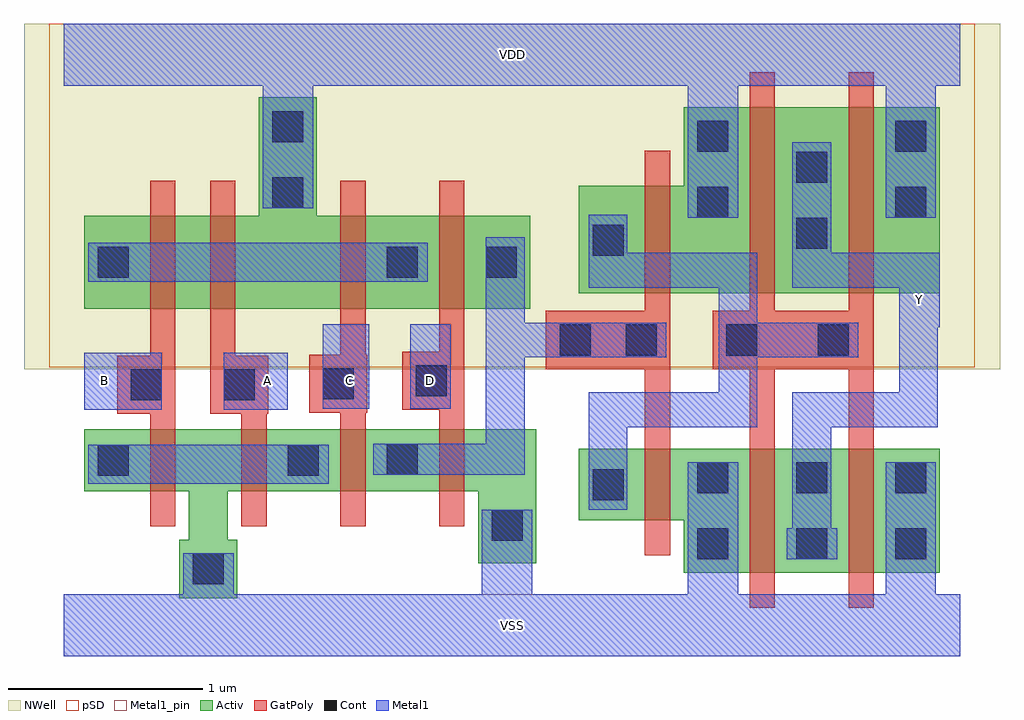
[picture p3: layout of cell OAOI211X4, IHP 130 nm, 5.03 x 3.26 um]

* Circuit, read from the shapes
.subckt OAOI211X4 A B C D VDD VSS Y
XM1 VSS B n1 VSUBS sg13_lv_nmos w=0.32u l=0.13u
XM2 n1 A VSS VSUBS sg13_lv_nmos w=0.32u l=0.13u
XM3 n2 C n1 VSUBS sg13_lv_nmos w=0.32u l=0.13u
XM4 VSS D n2 VSUBS sg13_lv_nmos w=0.32u l=0.13u
XM5 VSS n2 n3 VSUBS sg13_lv_nmos w=0.37u l=0.13u
XM6 Y n3 VSS VSUBS sg13_lv_nmos w=0.64u l=0.13u m=2
XM7 n4 B n5 n6 sg13_lv_pmos w=0.48u l=0.13u
XM8 VDD A n4 n6 sg13_lv_pmos w=0.48u l=0.13u
XM9 n5 C VDD n6 sg13_lv_pmos w=0.48u l=0.13u
XM10 n2 D n5 n6 sg13_lv_pmos w=0.48u l=0.13u
XM11 VDD n2 n3 n6 sg13_lv_pmos w=0.555u l=0.13u
XM12 Y n3 VDD n6 sg13_lv_pmos w=0.96u l=0.13u m=2
.ends

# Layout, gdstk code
import gdstk
lib = gdstk.Library(unit=1e-6, precision=1e-09)
def R(c, l, rs):  # rectangles x0, y0, x1, y1
    for r in rs: c.add(gdstk.rectangle(r[:2], r[2:], *l))
def A(c, l, x, y, w, h, nx, ny, dx, dy):  # array of equal rectangles
    R(c, l, [(x+i*dx, y+j*dy, x+i*dx+w, y+j*dy+h) for i in range(nx) for j in range(ny)])
def P(c, l, *ps):  # polygons
    for p in ps: c.add(gdstk.Polygon(p, *l))
Activ = (1, 0)
GatPoly = (5, 0)
Cont = (6, 0)
Metal1 = (8, 0)
Metal1_pin = (8, 2)
pSD = (14, 0)
NWell = (31, 0)

oaoi211x4 = lib.new_cell('OAOI211X4')
P(oaoi211x4, Activ, [(2.655,1.71),(2.655,2.265),(3.195,2.265),(3.195,2.67),(4.515,2.67),(4.515,1.71)],
  [(3.195,0.27),(3.195,0.54),(2.655,0.54),(2.655,0.91),(4.515,0.91),(4.515,0.27)],
  [(0.595,0.14),(0.595,0.44),(0.645,0.44),(0.645,0.69),(0.105,0.69),(0.105,1.01),(2.435,1.01),(2.435,0.32),(2.135,0.32),(2.135,0.69),(0.845,0.69),(0.845,0.44),(0.895,0.44),(0.895,0.14)],
  [(0.105,1.63),(0.105,2.11),(1.005,2.11),(1.005,2.72),(1.305,2.72),(1.305,2.11),(2.405,2.11),(2.405,1.63)])
P(oaoi211x4, GatPoly, [(2.995,0.36),(2.995,1.32),(2.485,1.32),(2.485,1.62),(2.995,1.62),(2.995,2.445),(3.125,2.445),(3.125,0.36)],
  [(1.935,0.51),(1.935,1.11),(1.745,1.11),(1.745,1.41),(1.935,1.41),(1.935,2.29),(2.065,2.29),(2.065,0.51)],
  [(1.425,0.51),(1.425,1.095),(1.265,1.095),(1.265,1.395),(1.425,1.395),(1.425,2.29),(1.555,2.29),(1.555,1.395),(1.565,1.395),(1.565,1.095),(1.555,1.095),(1.555,0.51)],
  [(0.915,0.51),(0.915,1.09),(0.755,1.09),(0.755,2.29),(0.885,2.29),(0.885,1.39),(1.055,1.39),(1.055,1.09),(1.045,1.09),(1.045,0.51)],
  [(3.535,0.09),(3.535,1.32),(3.345,1.32),(3.345,1.62),(3.535,1.62),(3.535,2.85),(3.665,2.85),(3.665,1.62),(4.045,1.62),(4.045,2.85),(4.175,2.85),(4.175,0.09),(4.045,0.09),(4.045,1.32),(3.665,1.32),(3.665,0.09)],
  [(0.445,0.51),(0.445,1.09),(0.275,1.09),(0.275,1.39),(0.445,1.39),(0.445,2.29),(0.575,2.29),(0.575,0.51)])
A(oaoi211x4, Cont, 3.265, 0.34, 0.16, 0.16, 3, 2, 0.51, 0.34)
R(oaoi211x4, Cont, [(0.665,0.21,0.825,0.37), (2.205,0.435,2.365,0.595), (2.725,0.645,2.885,0.805), (0.175,0.77,0.335,0.93), (1.155,0.77,1.315,0.93), (1.665,0.775,1.825,0.935), (0.345,1.16,0.505,1.32), (0.825,1.16,0.985,1.32), (1.335,1.165,1.495,1.325), (1.815,1.18,1.975,1.34), (2.555,1.39,2.715,1.55), (2.895,1.39,3.055,1.55), (3.415,1.39,3.575,1.55), (3.885,1.39,4.045,1.55), (0.175,1.79,0.335,1.95), (1.665,1.79,1.825,1.95), (2.175,1.79,2.335,1.95), (2.725,1.905,2.885,2.065), (3.775,1.94,3.935,2.1), (3.265,2.1,3.425,2.26), (4.285,2.1,4.445,2.26), (1.075,2.15,1.235,2.31), (3.775,2.28,3.935,2.44), (3.265,2.44,3.425,2.6), (4.285,2.44,4.445,2.6), (1.075,2.49,1.235,2.65)])
R(oaoi211x4, Metal1, [(0.125,0.73,1.365,0.93), (0.105,1.11,0.505,1.405), (0.825,1.11,1.155,1.405), (1.335,1.115,1.575,1.55), (1.785,1.115,1.995,1.55), (0.125,1.77,1.875,1.97)])
P(oaoi211x4, Metal1, [(0,-0.16),(0,0.16),(0.615,0.16),(0.615,0.37),(0.875,0.37),(0.875,0.16),(2.155,0.16),(2.155,0.595),(2.415,0.595),(2.415,0.16),(3.215,0.16),(3.215,0.84),(3.475,0.84),(3.475,0.16),(4.235,0.16),(4.235,0.84),(4.495,0.84),(4.495,0.16),(4.62,0.16),(4.62,-0.16)],
  [(3.215,2.1),(3.215,2.78),(1.285,2.78),(1.285,2.15),(1.025,2.15),(1.025,2.78),(0,2.78),(0,3.1),(4.62,3.1),(4.62,2.78),(4.495,2.78),(4.495,2.1),(4.235,2.1),(4.235,2.78),(3.475,2.78),(3.475,2.1)],
  [(3.725,0.34),(3.725,0.5),(3.755,0.5),(3.755,1.2),(4.305,1.2),(4.305,1.74),(3.755,1.74),(3.755,2.49),(3.955,2.49),(3.955,1.92),(4.515,1.92),(4.515,1.535),(4.505,1.535),(4.505,1.02),(3.955,1.02),(3.955,0.5),(3.985,0.5),(3.985,0.34)],
  [(2.705,0.595),(2.705,1.2),(3.375,1.2),(3.375,1.74),(2.705,1.74),(2.705,2.115),(2.905,2.115),(2.905,1.92),(3.575,1.92),(3.575,1.56),(4.095,1.56),(4.095,1.38),(3.575,1.38),(3.575,1.02),(2.905,1.02),(2.905,0.595)],
  [(1.595,0.775),(1.595,0.935),(2.175,0.935),(2.175,2),(2.375,2),(2.375,1.56),(3.105,1.56),(3.105,1.38),(2.375,1.38),(2.375,0.775)])
R(oaoi211x4, Metal1_pin, [(0.105,1.11,0.505,1.405), (0.825,1.11,1.155,1.405), (1.335,1.115,1.575,1.55), (1.785,1.115,1.995,1.55)])
P(oaoi211x4, Metal1_pin, [(0,-0.16),(0,0.16),(0.615,0.16),(0.615,0.37),(0.875,0.37),(0.875,0.16),(3.215,0.16),(3.215,0.84),(3.475,0.84),(3.475,0.16),(4.235,0.16),(4.235,0.84),(4.495,0.84),(4.495,0.16),(4.62,0.16),(4.62,-0.16)],
  [(3.215,2.1),(3.215,2.78),(1.285,2.78),(1.285,2.15),(1.025,2.15),(1.025,2.78),(0,2.78),(0,3.1),(4.62,3.1),(4.62,2.78),(4.495,2.78),(4.495,2.1),(4.235,2.1),(4.235,2.78),(3.475,2.78),(3.475,2.1)],
  [(3.725,0.34),(3.725,0.5),(3.755,0.5),(3.755,1.2),(4.305,1.2),(4.305,1.74),(3.755,1.74),(3.755,2.49),(3.955,2.49),(3.955,1.92),(4.515,1.92),(4.515,1.535),(4.505,1.535),(4.505,1.02),(3.955,1.02),(3.955,0.5),(3.985,0.5),(3.985,0.34)])
R(oaoi211x4, pSD, [(-0.075,1.33,4.695,3.1)])
R(oaoi211x4, NWell, [(-0.205,1.32,4.825,3.1)])
oaoi211x4.add(gdstk.Label('D', (1.89,1.26), layer=8, texttype=25))
oaoi211x4.add(gdstk.Label('C', (1.47,1.26), layer=8, texttype=25))
oaoi211x4.add(gdstk.Label('VSS', (2.31,0), layer=8, texttype=25))
oaoi211x4.add(gdstk.Label('VDD', (2.31,2.94), layer=8, texttype=25))
oaoi211x4.add(gdstk.Label('A', (1.05,1.26), layer=8, texttype=25))
oaoi211x4.add(gdstk.Label('B', (0.21,1.26), layer=8, texttype=25))
oaoi211x4.add(gdstk.Label('Y', (4.41,1.68), layer=8, texttype=25))

lib.write_gds('OAOI211X4.gds')
